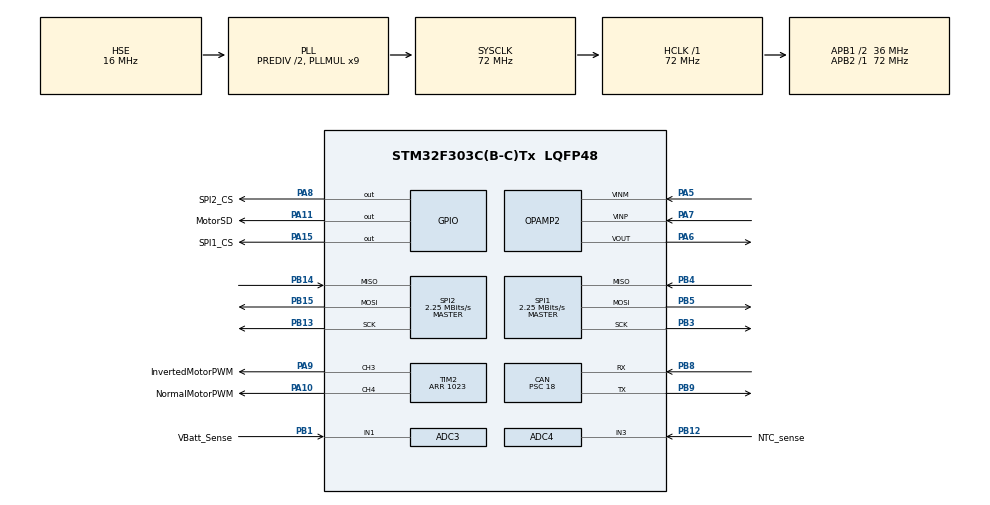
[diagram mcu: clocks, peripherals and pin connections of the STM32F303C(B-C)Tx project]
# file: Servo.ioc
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ADC1.Channel-1\#ChannelRegularConversion=ADC_CHANNEL_TEMPSENSOR
ADC1.NbrOfConversionFlag=1
ADC1.Offset-1\#ChannelRegularConversion=0
ADC1.OffsetNumber-1\#ChannelRegularConversion=ADC_OFFSET_NONE
ADC1.Rank-1\#ChannelRegularConversion=1
ADC1.SamplingTime-1\#ChannelRegularConversion=ADC_SAMPLETIME_601CYCLES_5
ADC1.master=1
ADC2.Channel-0\#ChannelRegularConversion=ADC_CHANNEL_3
ADC2.NbrOfConversionFlag=1
ADC2.Offset-0\#ChannelRegularConversion=0
ADC2.OffsetNumber-0\#ChannelRegularConversion=ADC_OFFSET_NONE
ADC2.Rank-0\#ChannelRegularConversion=1
ADC2.SamplingTime-0\#ChannelRegularConversion=ADC_SAMPLETIME_601CYCLES_5
ADC2.SamplingTimeOPAMP-0\#ChannelRegularConversion=ADC_SAMPLETIME_601CYCLES_5
ADC3.Channel-0\#ChannelRegularConversion=ADC_CHANNEL_1
ADC3.NbrOfConversionFlag=1
ADC3.Offset-0\#ChannelRegularConversion=0
ADC3.OffsetNumber-0\#ChannelRegularConversion=ADC_OFFSET_NONE
ADC3.Rank-0\#ChannelRegularConversion=1
ADC3.SamplingTime-0\#ChannelRegularConversion=ADC_SAMPLETIME_601CYCLES_5
ADC3.SamplingTimeOPAMP-0\#ChannelRegularConversion=ADC_SAMPLETIME_61CYCLES_5
ADC3.master=1
ADC4.Channel-0\#ChannelRegularConversion=ADC_CHANNEL_3
ADC4.NbrOfConversionFlag=1
ADC4.Offset-0\#ChannelRegularConversion=0
ADC4.OffsetNumber-0\#ChannelRegularConversion=ADC_OFFSET_NONE
ADC4.Rank-0\#ChannelRegularConversion=1
ADC4.SamplingTime-0\#ChannelRegularConversion=ADC_SAMPLETIME_601CYCLES_5
ADC4.SamplingTimeOPAMP-0\#ChannelRegularConversion=ADC_SAMPLETIME_61CYCLES_5
CAN.BS1=CAN_BS1_2TQ
CAN.CalculateBaudRate=500000
CAN.CalculateTimeBit=2000
CAN.CalculateTimeQuantum=500.0
CAN.NART=ENABLE
CAN.Prescaler=18
FREERTOS.Tasks01=servoUpdate,3,512,StartServoUpdate,Default,NULL,Dynamic,NULL,NULL;canFifo0,1,128,StartCanFifo0,Default,NULL,Dynamic,NULL,NULL;canFifo1,0,128,StartCanFifo1,Default,NULL,Dynamic,NULL,NULL;healthCheck,2,128,StartHealthCheck,Default,NULL,Dynamic,NULL,NULL;dataOutput,-1,128,StartDataOutput,Default,NULL,Dynamic,NULL,NULL
FREERTOS.configTOTAL_HEAP_SIZE=8192
FREERTOS.configUSE_NEWLIB_REENTRANT=1
Mcu.Family=STM32F3
Mcu.Name=STM32F303C(B-C)Tx
Mcu.Package=LQFP48
NVIC.CAN_RX1_IRQn=true\:5\:0\:false\:false\:true\:true\:true\:true\:true
NVIC.PriorityGroup=NVIC_PRIORITYGROUP_4
NVIC.TIM1_UP_TIM16_IRQn=true\:15\:0\:false\:false\:true\:false\:false\:true\:true
NVIC.TimeBase=TIM1_UP_TIM16_IRQn
NVIC.TimeBaseIP=TIM1
NVIC.USB_LP_CAN_RX0_IRQn=true\:5\:0\:false\:false\:true\:true\:true\:true\:true
PA10.GPIO_Label=NormalMotorPWM
PA10.Signal=S_TIM2_CH4
PA11.GPIO_Label=MotorSD
PA11.Signal=GPIO_Output
PA13.Mode=Serial_Wire
PA13.Signal=SYS_JTMS-SWDIO
PA14.Mode=Serial_Wire
PA14.Signal=SYS_JTCK-SWCLK
PA15.GPIO_Label=SPI1_CS
PA15.GPIO_PuPd=GPIO_NOPULL
PA15.PinState=GPIO_PIN_RESET
PA15.Signal=GPIO_Output
PA5.Mode=Standalone
PA5.Signal=OPAMP2_VINM
PA6.Mode=Standalone
PA6.Signal=OPAMP2_VOUT
PA7.Mode=Standalone
PA7.Signal=OPAMP2_VINP
PA8.GPIO_Label=SPI2_CS
PA8.GPIO_PuPd=GPIO_NOPULL
PA8.Signal=GPIO_Output
PA9.GPIO_Label=InvertedMotorPWM
PA9.Signal=S_TIM2_CH3
PB1.GPIO_Label=VBatt_Sense
PB1.Mode=IN1-Single-Ended
PB1.Signal=ADC3_IN1
PB12.GPIO_Label=NTC_sense
PB12.Mode=IN3-Single-Ended
PB12.Signal=ADC4_IN3
PB13.Mode=Full_Duplex_Master
PB13.Signal=SPI2_SCK
PB14.Mode=Full_Duplex_Master
PB14.Signal=SPI2_MISO
PB15.Mode=Full_Duplex_Master
PB15.Signal=SPI2_MOSI
PB3.Mode=Full_Duplex_Master
PB3.Signal=SPI1_SCK
PB4.Mode=Full_Duplex_Master
PB4.Signal=SPI1_MISO
PB5.Mode=Full_Duplex_Master
PB5.Signal=SPI1_MOSI
PB8.Mode=CAN_Activate
PB8.Signal=CAN_RX
PB9.Mode=CAN_Activate
PB9.Signal=CAN_TX
PF0-OSC_IN.Mode=HSE-External-Oscillator
PF0-OSC_IN.Signal=RCC_OSC_IN
PF1-OSC_OUT.Mode=HSE-External-Oscillator
PF1-OSC_OUT.Signal=RCC_OSC_OUT
ProjectManager.HeapSize=0x200
ProjectManager.StackSize=0x400
ProjectManager.TargetToolchain=STM32CubeIDE
RCC.AHBFreq_Value=72000000
RCC.APB1CLKDivider=RCC_HCLK_DIV2
RCC.APB1Freq_Value=36000000
RCC.APB1TimFreq_Value=72000000
RCC.APB2Freq_Value=72000000
RCC.APB2TimFreq_Value=72000000
RCC.CortexFreq_Value=72000000
RCC.HCLKFreq_Value=72000000
RCC.HSE_VALUE=16000000
RCC.HSI_VALUE=8000000
RCC.LSE_VALUE=32768
RCC.PLLMUL=RCC_PLL_MUL9
RCC.PLLSourceVirtual=RCC_PLLSOURCE_HSE
RCC.RCC_PLLsource_Clock_Source_FROM_HSE=RCC_HSE_PREDIV_DIV2
RCC.SYSCLKFreq_VALUE=72000000
RCC.SYSCLKSourceVirtual=RCC_SYSCLKSOURCE_PLLCLK
RCC.USBFreq_Value=72000000
SH.S_TIM2_CH3.0=TIM2_CH3,PWM Generation3 CH3
SH.S_TIM2_CH4.0=TIM2_CH4,PWM Generation4 CH4
SPI1.BaudRatePrescaler=SPI_BAUDRATEPRESCALER_32
SPI1.CLKPhase=SPI_PHASE_2EDGE
SPI1.CalculateBaudRate=2.25 MBits/s
SPI1.DataSize=SPI_DATASIZE_16BIT
SPI1.Direction=SPI_DIRECTION_2LINES
SPI1.Mode=SPI_MODE_MASTER
SPI1.VirtualType=VM_MASTER
SPI2.BaudRatePrescaler=SPI_BAUDRATEPRESCALER_16
SPI2.CLKPhase=SPI_PHASE_2EDGE
SPI2.CLKPolarity=SPI_POLARITY_HIGH
SPI2.CalculateBaudRate=2.25 MBits/s
SPI2.DataSize=SPI_DATASIZE_8BIT
SPI2.Direction=SPI_DIRECTION_2LINES
SPI2.Mode=SPI_MODE_MASTER
SPI2.VirtualType=VM_MASTER
TIM2.Channel-PWM\ Generation3\ CH3=TIM_CHANNEL_3
TIM2.Channel-PWM\ Generation4\ CH4=TIM_CHANNEL_4
TIM2.OCPolarity_4=TIM_OCPOLARITY_LOW
TIM2.Period=1023
TIM2.Pulse-PWM\ Generation3\ CH3=512
TIM2.Pulse-PWM\ Generation4\ CH4=512
VP_ADC1_TempSens_Input.Mode=IN-TempSens
VP_ADC2_OPAMP_OUT2.Mode=IN3-OPAMP2-Single-Ended
VP_FREERTOS_VS_CMSIS_V1.Mode=CMSIS_V1
VP_SYS_VS_tim1.Mode=TIM1
board=custom

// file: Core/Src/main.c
/* USER CODE BEGIN Header */
/**
  ******************************************************************************
  * @file           : main.c
  * @brief          : Main program body
  ******************************************************************************
  * @attention
  *
  * Copyright (c) 2024 STMicroelectronics.
  * All rights reserved.
  *
  * This software is licensed under terms that can be found in the LICENSE file
  * in the root directory of this software component.
  * If no LICENSE file comes with this software, it is provided AS-IS.
  *
  ******************************************************************************
  */
/* USER CODE END Header */
#include "main.h"
#include "cmsis_os.h"

/* USER CODE BEGIN Includes */

#include "stm32f3xx_hal.h"
#include "AS5048A.h"
#include "analogue.h"
#include "motor.h"
#include "can.h"
#include "servo.h"
#include "commands.h"
#include "pid.h"
#include "profile.h"
#include "LSM6DSO.h"
#include "motion.h"
#include "error.h"
#include "extvar.h"

/* USER CODE END Includes */

ADC_HandleTypeDef hadc1;
ADC_HandleTypeDef hadc2;
ADC_HandleTypeDef hadc3;
ADC_HandleTypeDef hadc4;

CAN_HandleTypeDef hcan;

OPAMP_HandleTypeDef hopamp2;

SPI_HandleTypeDef hspi1;
SPI_HandleTypeDef hspi2;

TIM_HandleTypeDef htim2;

osThreadId servoUpdateHandle;
osThreadId canFifo0Handle;
osThreadId canFifo1Handle;
osThreadId healthCheckHandle;
osThreadId dataOutputHandle;
/* USER CODE BEGIN PV */

SERVO_CONTROL servo;

/* USER CODE END PV */

void SystemClock_Config(void);
static void MX_GPIO_Init(void);
static void MX_ADC1_Init(void);
static void MX_TIM2_Init(void);
static void MX_ADC2_Init(void);
static void MX_ADC3_Init(void);
static void MX_ADC4_Init(void);
static void MX_CAN_Init(void);
static void MX_OPAMP2_Init(void);
static void MX_SPI1_Init(void);
static void MX_SPI2_Init(void);
void StartServoUpdate(void const * argument);
void StartCanFifo0(void const * argument);
void StartCanFifo1(void const * argument);
void StartHealthCheck(void const * argument);
void StartDataOutput(void const * argument);

/* USER CODE BEGIN 0 */
uint16_t count = 0; //////////////////////////////////////////////////////////////////////////////////////////////////////////
/* USER CODE END 0 */

int main(void)
{

  /* MCU Configuration--------------------------------------------------------*/

  /* Reset of all peripherals, Initializes the Flash interface and the Systick. */
  HAL_Init();

  /* Configure the system clock */
  SystemClock_Config();

  /* Initialize all configured peripherals */
  MX_GPIO_Init();
  MX_ADC1_Init();
  MX_TIM2_Init();
  MX_ADC2_Init();
  MX_ADC3_Init();
  MX_ADC4_Init();
  MX_CAN_Init();
  MX_OPAMP2_Init();
  MX_SPI1_Init();
  MX_SPI2_Init();
  /* USER CODE BEGIN 2 */

  /*   Run all initialisations   */
  servoCoreInit(&servo);
  servoExtVariablesInit(&servo);
  servoCommandAssignInit(&servo);
  servoCanInit(&servo, &hcan);
  servoEncoderInit(&servo, &hspi1, SPI1_CS_GPIO_Port, SPI1_CS_Pin);
  servoMotorInit(&servo, &htim2, TIM_CHANNEL_3, TIM_CHANNEL_4, MotorSD_GPIO_Port, MotorSD_Pin);
  servoAnalougeInit(&servo, &hadc1, &hadc2, &hadc3, &hadc4, &hopamp2);
  servoImuInit(&servo, &hspi2, SPI2_CS_GPIO_Port, SPI2_CS_Pin);

  /*   Read and stabilise sensor readings   */
  for( int i = 0; i > 1000; i++ ){

	  /*   ADC update   */
	  adcSensorUpdate(&servo.intTemp);
	  adcSensorUpdate(&servo.motorTemp);
	  adcSensorUpdate(&servo.batteryVoltage);
	  adcSensorUpdate(&servo.motorCurrent);			// CURRENT SHOUDL BE CLOSE TO ZERO!!!

  }
  torqueEnable(&servo, 1);////////////////////////

  /*   Ensure all values within range before proceeding to with the startup process   */
//  sensorsCheck(&servo);
//
//
//  /*   Send startup data   */
//  dataStartupReady(&servo);
//
//  /*   If initialisation has raised error flag   */
//  if (errorCombine( &servo.error ) != 0) {
//
//	  commandShutdown(&servo, NULL, NULL, NULL);
//
//  }
//
//
//  /*   Standby loop   */
//  while ( servo.startupConfrimation == 0 ) {
//
//  	if ( HAL_CAN_GetRxFifoFillLevel(servo.can.canHandle, CAN_RX_FIFO0) ) {
//
//  			processCanMessages(&servo, CAN_RX_FIFO0);
//
//  		}
//
//  	}
//
//  /*   Send startup data as confirmation   */
//  dataStartupReady(&servo);

  /* USER CODE END 2 */

  /* Create the thread(s) */
  /* definition and creation of servoUpdate */
  osThreadDef(servoUpdate, StartServoUpdate, osPriorityRealtime, 0, 512);
  servoUpdateHandle = osThreadCreate(osThread(servoUpdate), NULL);

  /* definition and creation of canFifo0 */
  osThreadDef(canFifo0, StartCanFifo0, osPriorityAboveNormal, 0, 128);
  canFifo0Handle = osThreadCreate(osThread(canFifo0), NULL);

  /* definition and creation of canFifo1 */
  osThreadDef(canFifo1, StartCanFifo1, osPriorityNormal, 0, 128);
  canFifo1Handle = osThreadCreate(osThread(canFifo1), NULL);

  /* definition and creation of healthCheck */
  osThreadDef(healthCheck, StartHealthCheck, osPriorityHigh, 0, 128);
  healthCheckHandle = osThreadCreate(osThread(healthCheck), NULL);

  /* definition and creation of dataOutput */
  osThreadDef(dataOutput, StartDataOutput, osPriorityBelowNormal, 0, 128);
  dataOutputHandle = osThreadCreate(osThread(dataOutput), NULL);

  /* USER CODE BEGIN RTOS_THREADS */

  /*   Pause can inbox read functions   */
   vTaskSuspend(canFifo0Handle);
   vTaskSuspend(canFifo1Handle);

   /*   Link task handles to struct   */
   servo.can.taskFIFO0 = canFifo0Handle;
   servo.can.taskFIFO1 = canFifo1Handle;

   /*   Activate CAN callback functions   */
   CAN_ActivateCallback(&servo.can);

  /* USER CODE END RTOS_THREADS */

  /* Start scheduler */
  osKernelStart();

  /* We should never get here as control is now taken by the scheduler */

  /* Infinite loop */
  while (1)
  {

  }
}

void SystemClock_Config(void)
{
  RCC_OscInitTypeDef RCC_OscInitStruct = {0};
  RCC_ClkInitTypeDef RCC_ClkInitStruct = {0};
  RCC_PeriphCLKInitTypeDef PeriphClkInit = {0};

  /** Initializes the RCC Oscillators according to the specified parameters
  * in the RCC_OscInitTypeDef structure.
  */
  RCC_OscInitStruct.OscillatorType = RCC_OSCILLATORTYPE_HSE;
  RCC_OscInitStruct.HSEState = RCC_HSE_ON;
  RCC_OscInitStruct.HSEPredivValue = RCC_HSE_PREDIV_DIV2;
  RCC_OscInitStruct.HSIState = RCC_HSI_ON;
  RCC_OscInitStruct.PLL.PLLState = RCC_PLL_ON;
  RCC_OscInitStruct.PLL.PLLSource = RCC_PLLSOURCE_HSE;
  RCC_OscInitStruct.PLL.PLLMUL = RCC_PLL_MUL9;
  if (HAL_RCC_OscConfig(&RCC_OscInitStruct) != HAL_OK)
  {
    Error_Handler();
  }

  /** Initializes the CPU, AHB and APB buses clocks
  */
  RCC_ClkInitStruct.ClockType = RCC_CLOCKTYPE_HCLK|RCC_CLOCKTYPE_SYSCLK
                              |RCC_CLOCKTYPE_PCLK1|RCC_CLOCKTYPE_PCLK2;
  RCC_ClkInitStruct.SYSCLKSource = RCC_SYSCLKSOURCE_PLLCLK;
  RCC_ClkInitStruct.AHBCLKDivider = RCC_SYSCLK_DIV1;
  RCC_ClkInitStruct.APB1CLKDivider = RCC_HCLK_DIV2;
  RCC_ClkInitStruct.APB2CLKDivider = RCC_HCLK_DIV1;

  if (HAL_RCC_ClockConfig(&RCC_ClkInitStruct, FLASH_LATENCY_2) != HAL_OK)
  {
    Error_Handler();
  }
  PeriphClkInit.PeriphClockSelection = RCC_PERIPHCLK_ADC12|RCC_PERIPHCLK_ADC34;
  PeriphClkInit.Adc12ClockSelection = RCC_ADC12PLLCLK_DIV1;
  PeriphClkInit.Adc34ClockSelection = RCC_ADC34PLLCLK_DIV1;
  if (HAL_RCCEx_PeriphCLKConfig(&PeriphClkInit) != HAL_OK)
  {
    Error_Handler();
  }
}

static void MX_ADC1_Init(void)
{

  ADC_MultiModeTypeDef multimode = {0};
  ADC_ChannelConfTypeDef sConfig = {0};

  /** Common config
  */
  hadc1.Instance = ADC1;
  hadc1.Init.ClockPrescaler = ADC_CLOCK_ASYNC_DIV1;
  hadc1.Init.Resolution = ADC_RESOLUTION_12B;
  hadc1.Init.ScanConvMode = ADC_SCAN_DISABLE;
  hadc1.Init.ContinuousConvMode = DISABLE;
  hadc1.Init.DiscontinuousConvMode = DISABLE;
  hadc1.Init.ExternalTrigConvEdge = ADC_EXTERNALTRIGCONVEDGE_NONE;
  hadc1.Init.ExternalTrigConv = ADC_SOFTWARE_START;
  hadc1.Init.DataAlign = ADC_DATAALIGN_RIGHT;
  hadc1.Init.NbrOfConversion = 1;
  hadc1.Init.DMAContinuousRequests = DISABLE;
  hadc1.Init.EOCSelection = ADC_EOC_SINGLE_CONV;
  hadc1.Init.LowPowerAutoWait = DISABLE;
  hadc1.Init.Overrun = ADC_OVR_DATA_OVERWRITTEN;
  if (HAL_ADC_Init(&hadc1) != HAL_OK)
  {
    Error_Handler();
  }

  /** Configure the ADC multi-mode
  */
  multimode.Mode = ADC_MODE_INDEPENDENT;
  if (HAL_ADCEx_MultiModeConfigChannel(&hadc1, &multimode) != HAL_OK)
  {
    Error_Handler();
  }

  /** Configure Regular Channel
  */
  sConfig.Channel = ADC_CHANNEL_TEMPSENSOR;
  sConfig.Rank = ADC_REGULAR_RANK_1;
  sConfig.SingleDiff = ADC_SINGLE_ENDED;
  sConfig.SamplingTime = ADC_SAMPLETIME_601CYCLES_5;
  sConfig.OffsetNumber = ADC_OFFSET_NONE;
  sConfig.Offset = 0;
  if (HAL_ADC_ConfigChannel(&hadc1, &sConfig) != HAL_OK)
  {
    Error_Handler();
  }

}

static void MX_ADC2_Init(void)
{

  ADC_ChannelConfTypeDef sConfig = {0};

  /** Common config
  */
  hadc2.Instance = ADC2;
  hadc2.Init.ClockPrescaler = ADC_CLOCK_ASYNC_DIV1;
  hadc2.Init.Resolution = ADC_RESOLUTION_12B;
  hadc2.Init.ScanConvMode = ADC_SCAN_DISABLE;
  hadc2.Init.ContinuousConvMode = DISABLE;
  hadc2.Init.DiscontinuousConvMode = DISABLE;
  hadc2.Init.ExternalTrigConvEdge = ADC_EXTERNALTRIGCONVEDGE_NONE;
  hadc2.Init.ExternalTrigConv = ADC_SOFTWARE_START;
  hadc2.Init.DataAlign = ADC_DATAALIGN_RIGHT;
  hadc2.Init.NbrOfConversion = 1;
  hadc2.Init.DMAContinuousRequests = DISABLE;
  hadc2.Init.EOCSelection = ADC_EOC_SINGLE_CONV;
  hadc2.Init.LowPowerAutoWait = DISABLE;
  hadc2.Init.Overrun = ADC_OVR_DATA_OVERWRITTEN;
  if (HAL_ADC_Init(&hadc2) != HAL_OK)
  {
    Error_Handler();
  }

  /** Configure Regular Channel
  */
  sConfig.Channel = ADC_CHANNEL_3;
  sConfig.Rank = ADC_REGULAR_RANK_1;
  sConfig.SingleDiff = ADC_SINGLE_ENDED;
  sConfig.SamplingTime = ADC_SAMPLETIME_601CYCLES_5;
  sConfig.OffsetNumber = ADC_OFFSET_NONE;
  sConfig.Offset = 0;
  if (HAL_ADC_ConfigChannel(&hadc2, &sConfig) != HAL_OK)
  {
    Error_Handler();
  }

}

static void MX_ADC3_Init(void)
{

  ADC_MultiModeTypeDef multimode = {0};
  ADC_ChannelConfTypeDef sConfig = {0};

  /** Common config
  */
  hadc3.Instance = ADC3;
  hadc3.Init.ClockPrescaler = ADC_CLOCK_ASYNC_DIV1;
  hadc3.Init.Resolution = ADC_RESOLUTION_12B;
  hadc3.Init.ScanConvMode = ADC_SCAN_DISABLE;
  hadc3.Init.ContinuousConvMode = DISABLE;
  hadc3.Init.DiscontinuousConvMode = DISABLE;
  hadc3.Init.ExternalTrigConvEdge = ADC_EXTERNALTRIGCONVEDGE_NONE;
  hadc3.Init.ExternalTrigConv = ADC_SOFTWARE_START;
  hadc3.Init.DataAlign = ADC_DATAALIGN_RIGHT;
  hadc3.Init.NbrOfConversion = 1;
  hadc3.Init.DMAContinuousRequests = DISABLE;
  hadc3.Init.EOCSelection = ADC_EOC_SINGLE_CONV;
  hadc3.Init.LowPowerAutoWait = DISABLE;
  hadc3.Init.Overrun = ADC_OVR_DATA_OVERWRITTEN;
  if (HAL_ADC_Init(&hadc3) != HAL_OK)
  {
    Error_Handler();
  }

  /** Configure the ADC multi-mode
  */
  multimode.Mode = ADC_MODE_INDEPENDENT;
  if (HAL_ADCEx_MultiModeConfigChannel(&hadc3, &multimode) != HAL_OK)
  {
    Error_Handler();
  }

  /** Configure Regular Channel
  */
  sConfig.Channel = ADC_CHANNEL_1;
  sConfig.Rank = ADC_REGULAR_RANK_1;
  sConfig.SingleDiff = ADC_SINGLE_ENDED;
  sConfig.SamplingTime = ADC_SAMPLETIME_601CYCLES_5;
  sConfig.OffsetNumber = ADC_OFFSET_NONE;
  sConfig.Offset = 0;
  if (HAL_ADC_ConfigChannel(&hadc3, &sConfig) != HAL_OK)
  {
    Error_Handler();
  }

}

static void MX_ADC4_Init(void)
{

  ADC_ChannelConfTypeDef sConfig = {0};

  /** Common config
  */
  hadc4.Instance = ADC4;
  hadc4.Init.ClockPrescaler = ADC_CLOCK_ASYNC_DIV1;
  hadc4.Init.Resolution = ADC_RESOLUTION_12B;
  hadc4.Init.ScanConvMode = ADC_SCAN_DISABLE;
  hadc4.Init.ContinuousConvMode = DISABLE;
  hadc4.Init.DiscontinuousConvMode = DISABLE;
  hadc4.Init.ExternalTrigConvEdge = ADC_EXTERNALTRIGCONVEDGE_NONE;
  hadc4.Init.ExternalTrigConv = ADC_SOFTWARE_START;
  hadc4.Init.DataAlign = ADC_DATAALIGN_RIGHT;
  hadc4.Init.NbrOfConversion = 1;
  hadc4.Init.DMAContinuousRequests = DISABLE;
  hadc4.Init.EOCSelection = ADC_EOC_SINGLE_CONV;
  hadc4.Init.LowPowerAutoWait = DISABLE;
  hadc4.Init.Overrun = ADC_OVR_DATA_OVERWRITTEN;
  if (HAL_ADC_Init(&hadc4) != HAL_OK)
  {
    Error_Handler();
  }

  /** Configure Regular Channel
  */
  sConfig.Channel = ADC_CHANNEL_3;
  sConfig.Rank = ADC_REGULAR_RANK_1;
  sConfig.SingleDiff = ADC_SINGLE_ENDED;
  sConfig.SamplingTime = ADC_SAMPLETIME_601CYCLES_5;
  sConfig.OffsetNumber = ADC_OFFSET_NONE;
  sConfig.Offset = 0;
  if (HAL_ADC_ConfigChannel(&hadc4, &sConfig) != HAL_OK)
  {
    Error_Handler();
  }

}

static void MX_CAN_Init(void)
{

  hcan.Instance = CAN;
  hcan.Init.Prescaler = 18;
  hcan.Init.Mode = CAN_MODE_NORMAL;
  hcan.Init.SyncJumpWidth = CAN_SJW_1TQ;
  hcan.Init.TimeSeg1 = CAN_BS1_2TQ;
  hcan.Init.TimeSeg2 = CAN_BS2_1TQ;
  hcan.Init.TimeTriggeredMode = DISABLE;
  hcan.Init.AutoBusOff = DISABLE;
  hcan.Init.AutoWakeUp = DISABLE;
  hcan.Init.AutoRetransmission = ENABLE;
  hcan.Init.ReceiveFifoLocked = DISABLE;
  hcan.Init.TransmitFifoPriority = DISABLE;
  if (HAL_CAN_Init(&hcan) != HAL_OK)
  {
    Error_Handler();
  }

}

static void MX_OPAMP2_Init(void)
{

  hopamp2.Instance = OPAMP2;
  hopamp2.Init.Mode = OPAMP_STANDALONE_MODE;
  hopamp2.Init.NonInvertingInput = OPAMP_NONINVERTINGINPUT_IO0;
  hopamp2.Init.InvertingInput = OPAMP_INVERTINGINPUT_IO1;
  hopamp2.Init.TimerControlledMuxmode = OPAMP_TIMERCONTROLLEDMUXMODE_DISABLE;
  hopamp2.Init.UserTrimming = OPAMP_TRIMMING_FACTORY;
  if (HAL_OPAMP_Init(&hopamp2) != HAL_OK)
  {
    Error_Handler();
  }

}

static void MX_SPI1_Init(void)
{

  /* SPI1 parameter configuration*/
  hspi1.Instance = SPI1;
  hspi1.Init.Mode = SPI_MODE_MASTER;
  hspi1.Init.Direction = SPI_DIRECTION_2LINES;
  hspi1.Init.DataSize = SPI_DATASIZE_16BIT;
  hspi1.Init.CLKPolarity = SPI_POLARITY_LOW;
  hspi1.Init.CLKPhase = SPI_PHASE_2EDGE;
  hspi1.Init.NSS = SPI_NSS_SOFT;
  hspi1.Init.BaudRatePrescaler = SPI_BAUDRATEPRESCALER_32;
  hspi1.Init.FirstBit = SPI_FIRSTBIT_MSB;
  hspi1.Init.TIMode = SPI_TIMODE_DISABLE;
  hspi1.Init.CRCCalculation = SPI_CRCCALCULATION_DISABLE;
  hspi1.Init.CRCPolynomial = 7;
  hspi1.Init.CRCLength = SPI_CRC_LENGTH_DATASIZE;
  hspi1.Init.NSSPMode = SPI_NSS_PULSE_DISABLE;
  if (HAL_SPI_Init(&hspi1) != HAL_OK)
  {
    Error_Handler();
  }

}

static void MX_SPI2_Init(void)
{

  /* SPI2 parameter configuration*/
  hspi2.Instance = SPI2;
  hspi2.Init.Mode = SPI_MODE_MASTER;
  hspi2.Init.Direction = SPI_DIRECTION_2LINES;
  hspi2.Init.DataSize = SPI_DATASIZE_8BIT;
  hspi2.Init.CLKPolarity = SPI_POLARITY_HIGH;
  hspi2.Init.CLKPhase = SPI_PHASE_2EDGE;
  hspi2.Init.NSS = SPI_NSS_SOFT;
  hspi2.Init.BaudRatePrescaler = SPI_BAUDRATEPRESCALER_16;
  hspi2.Init.FirstBit = SPI_FIRSTBIT_MSB;
  hspi2.Init.TIMode = SPI_TIMODE_DISABLE;
  hspi2.Init.CRCCalculation = SPI_CRCCALCULATION_DISABLE;
  hspi2.Init.CRCPolynomial = 7;
  hspi2.Init.CRCLength = SPI_CRC_LENGTH_DATASIZE;
  hspi2.Init.NSSPMode = SPI_NSS_PULSE_DISABLE;
  if (HAL_SPI_Init(&hspi2) != HAL_OK)
  {
    Error_Handler();
  }

}

static void MX_TIM2_Init(void)
{

  TIM_MasterConfigTypeDef sMasterConfig = {0};
  TIM_OC_InitTypeDef sConfigOC = {0};

  htim2.Instance = TIM2;
  htim2.Init.Prescaler = 0;
  htim2.Init.CounterMode = TIM_COUNTERMODE_UP;
  htim2.Init.Period = 1023;
  htim2.Init.ClockDivision = TIM_CLOCKDIVISION_DIV1;
  htim2.Init.AutoReloadPreload = TIM_AUTORELOAD_PRELOAD_DISABLE;
  if (HAL_TIM_PWM_Init(&htim2) != HAL_OK)
  {
    Error_Handler();
  }
  sMasterConfig.MasterOutputTrigger = TIM_TRGO_RESET;
  sMasterConfig.MasterSlaveMode = TIM_MASTERSLAVEMODE_DISABLE;
  if (HAL_TIMEx_MasterConfigSynchronization(&htim2, &sMasterConfig) != HAL_OK)
  {
    Error_Handler();
  }
  sConfigOC.OCMode = TIM_OCMODE_PWM1;
  sConfigOC.Pulse = 512;
  sConfigOC.OCPolarity = TIM_OCPOLARITY_HIGH;
  sConfigOC.OCFastMode = TIM_OCFAST_DISABLE;
  if (HAL_TIM_PWM_ConfigChannel(&htim2, &sConfigOC, TIM_CHANNEL_3) != HAL_OK)
  {
    Error_Handler();
  }
  sConfigOC.OCPolarity = TIM_OCPOLARITY_LOW;
  if (HAL_TIM_PWM_ConfigChannel(&htim2, &sConfigOC, TIM_CHANNEL_4) != HAL_OK)
  {
    Error_Handler();
  }
  HAL_TIM_MspPostInit(&htim2);

}

static void MX_GPIO_Init(void)
{
  GPIO_InitTypeDef GPIO_InitStruct = {0};

  /* GPIO Ports Clock Enable */
  __HAL_RCC_GPIOF_CLK_ENABLE();
  __HAL_RCC_GPIOA_CLK_ENABLE();
  __HAL_RCC_GPIOB_CLK_ENABLE();

  /*Configure GPIO pin Output Level */
  HAL_GPIO_WritePin(GPIOA, SPI2_CS_Pin|MotorSD_Pin|SPI1_CS_Pin, GPIO_PIN_RESET);

  /*Configure GPIO pins : SPI2_CS_Pin MotorSD_Pin SPI1_CS_Pin */
  GPIO_InitStruct.Pin = SPI2_CS_Pin|MotorSD_Pin|SPI1_CS_Pin;
  GPIO_InitStruct.Mode = GPIO_MODE_OUTPUT_PP;
  GPIO_InitStruct.Pull = GPIO_NOPULL;
  GPIO_InitStruct.Speed = GPIO_SPEED_FREQ_LOW;
  HAL_GPIO_Init(GPIOA, &GPIO_InitStruct);

}

void StartServoUpdate(void const * argument)
{
  /* USER CODE BEGIN 5 */
  /* Infinite loop */
  for(;;)
  {

	  /*   Encoder update   */
	  AS5048A_ReadAngle(&servo.encoder);

	  /*   IMU update   */
	  LSM6DSO_ReadSensors(&servo.imu);
	  LSM6DSO_EstimateOrientation(&servo.imu);

	  /*   ADC update   */
	  adcSensorUpdate(&servo.intTemp);
	  adcSensorUpdate(&servo.motorTemp);
	  adcSensorUpdate(&servo.batteryVoltage);
	  adcSensorUpdate(&servo.motorCurrent);

	  pidUpdate(&servo.PID, servo.encoder.angle, profileUpdate(&servo.profile, servo.goalPosition) );

	  motionUpdate(&servo.motion, servo.encoder.angle);

	  motorPwmDecomp(&servo.motor, currentLimit(&servo.current, servo.motorCurrent.converData, 0, servo.PID.outputLimited), servo.torqueEnable, servo.motionDirection);
	  motorUpdate(&servo.motor);

	  // Test motion

	  	 	 if (count == 0 ){
	  	 		 	 	 servo.goalPosition  = 5000;

	  	 	 	}
	  	 	 if (count == 200 ){
	  	 			 		servo.goalPosition  = 5000;

	  	 		 	}
	  	 	 if (count == 400 ){
	  	 	 			 	servo.goalPosition  = 5000;

	  	 	 		 	}
	  	 	 if (count == 600 ){
	  	 	 			 	servo.goalPosition  = 5000;

	  	 	 		 	}
	  	 	 if (count == 800 ){
	  	 	 			 	servo.goalPosition  = 5000;

	  	 	 		 	}
	  	 	 if (count == 1000 ){
	  	 	 			 	servo.goalPosition  = 7300;

	  	 	 		 	}
	  	 	 if (count == 1200 ){
	  	 	 			 	servo.goalPosition  = 3552;

	  	 	 		 	}
	  	 	 if (count == 1400 ){
	  	 		 	 	 	servo.goalPosition  = 12000;

	  	 	 				count = 0;
	  	 	 		 	}
	  	 	count += 1;

    osDelay(servo.timeStep);
  }

  osThreadTerminate( NULL );						// In case of accidental break from for loop

  /* USER CODE END 5 */
}

void StartCanFifo0(void const * argument)
{
  /* USER CODE BEGIN StartCanFifo0 */
  /* Infinite loop */
  for(;;)
  {

	  /*   Read CAN frame, execute instruction   */
	  processCanMessages(&servo, CAN_RX_FIFO0);

	  /*   Activate callback   */
	  HAL_CAN_ActivateNotification(&hcan, CAN_IT_RX_FIFO0_MSG_PENDING);

	  /*   Disable task   */
	  vTaskSuspend( NULL );

	  osDelay(1);						// Run whenever open slot

  }

  osThreadTerminate( NULL );		// In case of accidental break from for loop

  /* USER CODE END StartCanFifo0 */
}

void StartCanFifo1(void const * argument)
{
  /* USER CODE BEGIN StartCanFifo1 */
  /* Infinite loop */
  for(;;)
  {

	  /*   Read CAN frame, execute instruction   */
	  processCanMessages(&servo, CAN_RX_FIFO1);

	  /*   Activate callback   */
	  HAL_CAN_ActivateNotification(&hcan, CAN_IT_RX_FIFO1_MSG_PENDING);

	  /*   Disable task   */
	  vTaskSuspend( NULL );

	  osDelay(1);						// Run whenever open slot

  }

  osThreadTerminate( NULL );		// In case of accidental break from for loop

  /* USER CODE END StartCanFifo1 */
}

void StartHealthCheck(void const * argument)
{
  /* USER CODE BEGIN StartHealthCheck */
  /* Infinite loop */
  for(;;)
  {

	/*   Check connection and disable servo if failed*/
	//servoConnectionCheck(&servo);											/////////////////////////////////////////ENABLE AGAIN!!!!!!!!!!!!!!!!!!!!!!!!////////////////

    osDelay(SERVO_CHECK_INTERVAL);

  }

  osThreadTerminate( NULL );		// In case of accidental break from for loop

  /* USER CODE END StartHealthCheck */
}

void StartDataOutput(void const * argument)
{
  /* USER CODE BEGIN StartDataOutput */
  /* Infinite loop */
  for(;;)
  {

	  for ( uint8_t i = 0; i < 3; i++ ) {

		  //readStandard(&servo, PRIORITY_MODERATE, i);////////////!!!!!!!!!!!!!!!!!!!!!!!!!!!!!!!!!!!

	  }

	  uint8_t tx[] = {(servo.profile.trajectorySetPoint >> 8) & 0xFF, servo.profile.trajectorySetPoint & 0xFF,
			  	  	  (servo.encoder.angle >> 8) & 0xFF, servo.encoder.angle & 0xFF,
					  (servo.PID.outputLimited >> 8) & 0xFF, servo.PID.outputLimited & 0xFF,
					  (servo.motorCurrent.converData >> 8) & 0xFF, servo.motorCurrent.converData & 0xFF
	  };

	  CAN_SendDataFrame(&servo.can, tx, 8, 0, 0);/////////////////////////////// TYEMP

    osDelay(SERVO_DATA_INTERVAL);

  }

  osThreadTerminate( NULL );		// In case of accidental break from for loop

  /* USER CODE END StartDataOutput */
}

void HAL_TIM_PeriodElapsedCallback(TIM_HandleTypeDef *htim)
{
  if (htim->Instance == TIM1) {
    HAL_IncTick();
  }
}

void Error_Handler(void)
{
  __disable_irq();
  while (1)
  {
  }
}
